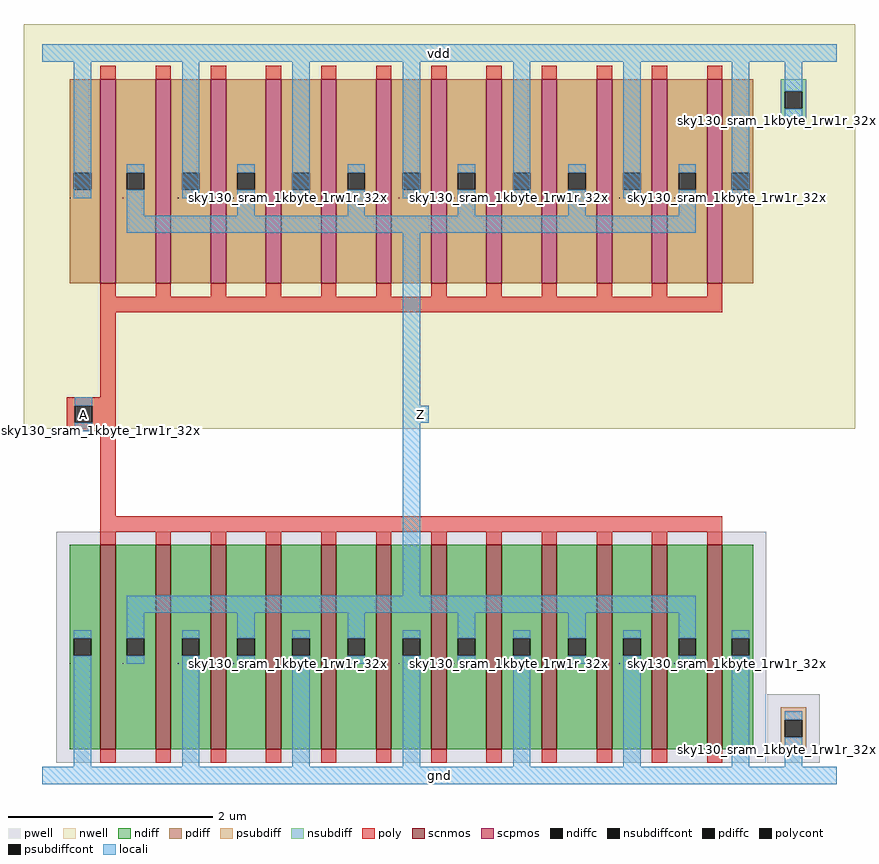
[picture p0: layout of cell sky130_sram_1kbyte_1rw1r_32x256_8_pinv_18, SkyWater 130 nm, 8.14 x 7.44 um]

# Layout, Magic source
magic
tech sky130A
magscale 1 2
<< nwell >>
rect -36 679 1592 1471
<< pwell >>
rect 1420 25 1522 159
<< psubdiff >>
rect 1446 109 1496 133
rect 1446 75 1454 109
rect 1488 75 1496 109
rect 1446 51 1496 75
<< nsubdiff >>
rect 1446 1339 1496 1363
rect 1446 1305 1454 1339
rect 1488 1305 1496 1339
rect 1446 1281 1496 1305
<< psubdiffcont >>
rect 1454 75 1488 109
<< nsubdiffcont >>
rect 1454 1305 1488 1339
<< poly >>
rect 114 740 144 907
rect 48 724 144 740
rect 48 690 64 724
rect 98 690 144 724
rect 48 674 144 690
rect 114 507 144 674
<< polycont >>
rect 64 690 98 724
<< locali >>
rect 0 1397 1556 1431
rect 62 1130 96 1397
rect 274 1130 308 1397
rect 490 1130 524 1397
rect 706 1130 740 1397
rect 922 1130 956 1397
rect 1138 1130 1172 1397
rect 1350 1130 1384 1397
rect 1454 1339 1488 1397
rect 1454 1289 1488 1305
rect 64 724 98 740
rect 64 674 98 690
rect 706 724 740 1096
rect 706 690 757 724
rect 706 318 740 690
rect 62 17 96 218
rect 274 17 308 218
rect 490 17 524 218
rect 706 17 740 218
rect 922 17 956 218
rect 1138 17 1172 218
rect 1350 17 1384 218
rect 1454 109 1488 125
rect 1454 17 1488 75
rect 0 -17 1556 17
use sky130_sram_1kbyte_1rw1r_32x256_8_contact_16  sky130_sram_1kbyte_1rw1r_32x256_8_contact_16_0
transform 1 0 48 0 1 674
box 0 0 1 1
use sky130_sram_1kbyte_1rw1r_32x256_8_contact_29  sky130_sram_1kbyte_1rw1r_32x256_8_contact_29_0
transform 1 0 1446 0 1 51
box 0 0 1 1
use sky130_sram_1kbyte_1rw1r_32x256_8_contact_28  sky130_sram_1kbyte_1rw1r_32x256_8_contact_28_0
transform 1 0 1446 0 1 1281
box 0 0 1 1
use sky130_sram_1kbyte_1rw1r_32x256_8_nmos_m12_w2_000_sli_dli_da_p  sky130_sram_1kbyte_1rw1r_32x256_8_nmos_m12_w2_000_sli_dli_da_p_0
transform 1 0 54 0 1 51
box -26 -26 1364 456
use sky130_sram_1kbyte_1rw1r_32x256_8_pmos_m12_w2_000_sli_dli_da_p  sky130_sram_1kbyte_1rw1r_32x256_8_pmos_m12_w2_000_sli_dli_da_p_0
transform 1 0 54 0 1 963
box -59 -56 1397 454
<< labels >>
rlabel locali s 81 707 81 707 4 A
port 1 nsew
rlabel locali s 740 707 740 707 4 Z
port 2 nsew
rlabel locali s 778 0 778 0 4 gnd
port 3 nsew
rlabel locali s 778 1414 778 1414 4 vdd
port 4 nsew
<< properties >>
string FIXED_BBOX 0 0 1556 1414
string GDS_FILE $PDKPATH/libs.ref/sky130_sram_macros/gds/sky130_sram_1kbyte_1rw1r_32x256_8.gds
string GDS_END 352868
string GDS_START 350230
<< end >>

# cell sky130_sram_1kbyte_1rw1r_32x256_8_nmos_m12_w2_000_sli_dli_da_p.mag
magic
tech sky130A
magscale 1 2
<< pwell >>
rect -26 -26 1364 426
<< scnmos >>
rect 60 0 90 400
rect 168 0 198 400
rect 276 0 306 400
rect 384 0 414 400
rect 492 0 522 400
rect 600 0 630 400
rect 708 0 738 400
rect 816 0 846 400
rect 924 0 954 400
rect 1032 0 1062 400
rect 1140 0 1170 400
rect 1248 0 1278 400
<< ndiff >>
rect 0 217 60 400
rect 0 183 8 217
rect 42 183 60 217
rect 0 0 60 183
rect 90 217 168 400
rect 90 183 112 217
rect 146 183 168 217
rect 90 0 168 183
rect 198 217 276 400
rect 198 183 220 217
rect 254 183 276 217
rect 198 0 276 183
rect 306 217 384 400
rect 306 183 328 217
rect 362 183 384 217
rect 306 0 384 183
rect 414 217 492 400
rect 414 183 436 217
rect 470 183 492 217
rect 414 0 492 183
rect 522 217 600 400
rect 522 183 544 217
rect 578 183 600 217
rect 522 0 600 183
rect 630 217 708 400
rect 630 183 652 217
rect 686 183 708 217
rect 630 0 708 183
rect 738 217 816 400
rect 738 183 760 217
rect 794 183 816 217
rect 738 0 816 183
rect 846 217 924 400
rect 846 183 868 217
rect 902 183 924 217
rect 846 0 924 183
rect 954 217 1032 400
rect 954 183 976 217
rect 1010 183 1032 217
rect 954 0 1032 183
rect 1062 217 1140 400
rect 1062 183 1084 217
rect 1118 183 1140 217
rect 1062 0 1140 183
rect 1170 217 1248 400
rect 1170 183 1192 217
rect 1226 183 1248 217
rect 1170 0 1248 183
rect 1278 217 1338 400
rect 1278 183 1296 217
rect 1330 183 1338 217
rect 1278 0 1338 183
<< ndiffc >>
rect 8 183 42 217
rect 112 183 146 217
rect 220 183 254 217
rect 328 183 362 217
rect 436 183 470 217
rect 544 183 578 217
rect 652 183 686 217
rect 760 183 794 217
rect 868 183 902 217
rect 976 183 1010 217
rect 1084 183 1118 217
rect 1192 183 1226 217
rect 1296 183 1330 217
<< poly >>
rect 60 426 1278 456
rect 60 400 90 426
rect 168 400 198 426
rect 276 400 306 426
rect 384 400 414 426
rect 492 400 522 426
rect 600 400 630 426
rect 708 400 738 426
rect 816 400 846 426
rect 924 400 954 426
rect 1032 400 1062 426
rect 1140 400 1170 426
rect 1248 400 1278 426
rect 60 -26 90 0
rect 168 -26 198 0
rect 276 -26 306 0
rect 384 -26 414 0
rect 492 -26 522 0
rect 600 -26 630 0
rect 708 -26 738 0
rect 816 -26 846 0
rect 924 -26 954 0
rect 1032 -26 1062 0
rect 1140 -26 1170 0
rect 1248 -26 1278 0
<< locali >>
rect 112 267 1226 301
rect 8 217 42 233
rect 8 167 42 183
rect 112 217 146 267
rect 112 167 146 183
rect 220 217 254 233
rect 220 167 254 183
rect 328 217 362 267
rect 328 167 362 183
rect 436 217 470 233
rect 436 167 470 183
rect 544 217 578 267
rect 544 167 578 183
rect 652 217 686 233
rect 652 167 686 183
rect 760 217 794 267
rect 760 167 794 183
rect 868 217 902 233
rect 868 167 902 183
rect 976 217 1010 267
rect 976 167 1010 183
rect 1084 217 1118 233
rect 1084 167 1118 183
rect 1192 217 1226 267
rect 1192 167 1226 183
rect 1296 217 1330 233
rect 1296 167 1330 183
use sky130_sram_1kbyte_1rw1r_32x256_8_contact_11  sky130_sram_1kbyte_1rw1r_32x256_8_contact_11_0
transform 1 0 1288 0 1 167
box 0 0 1 1
use sky130_sram_1kbyte_1rw1r_32x256_8_contact_11  sky130_sram_1kbyte_1rw1r_32x256_8_contact_11_1
transform 1 0 1184 0 1 167
box 0 0 1 1
use sky130_sram_1kbyte_1rw1r_32x256_8_contact_11  sky130_sram_1kbyte_1rw1r_32x256_8_contact_11_2
transform 1 0 1076 0 1 167
box 0 0 1 1
use sky130_sram_1kbyte_1rw1r_32x256_8_contact_11  sky130_sram_1kbyte_1rw1r_32x256_8_contact_11_3
transform 1 0 968 0 1 167
box 0 0 1 1
use sky130_sram_1kbyte_1rw1r_32x256_8_contact_11  sky130_sram_1kbyte_1rw1r_32x256_8_contact_11_4
transform 1 0 860 0 1 167
box 0 0 1 1
use sky130_sram_1kbyte_1rw1r_32x256_8_contact_11  sky130_sram_1kbyte_1rw1r_32x256_8_contact_11_5
transform 1 0 752 0 1 167
box 0 0 1 1
use sky130_sram_1kbyte_1rw1r_32x256_8_contact_11  sky130_sram_1kbyte_1rw1r_32x256_8_contact_11_6
transform 1 0 644 0 1 167
box 0 0 1 1
use sky130_sram_1kbyte_1rw1r_32x256_8_contact_11  sky130_sram_1kbyte_1rw1r_32x256_8_contact_11_7
transform 1 0 536 0 1 167
box 0 0 1 1
use sky130_sram_1kbyte_1rw1r_32x256_8_contact_11  sky130_sram_1kbyte_1rw1r_32x256_8_contact_11_8
transform 1 0 428 0 1 167
box 0 0 1 1
use sky130_sram_1kbyte_1rw1r_32x256_8_contact_11  sky130_sram_1kbyte_1rw1r_32x256_8_contact_11_9
transform 1 0 320 0 1 167
box 0 0 1 1
use sky130_sram_1kbyte_1rw1r_32x256_8_contact_11  sky130_sram_1kbyte_1rw1r_32x256_8_contact_11_10
transform 1 0 212 0 1 167
box 0 0 1 1
use sky130_sram_1kbyte_1rw1r_32x256_8_contact_11  sky130_sram_1kbyte_1rw1r_32x256_8_contact_11_11
transform 1 0 104 0 1 167
box 0 0 1 1
use sky130_sram_1kbyte_1rw1r_32x256_8_contact_11  sky130_sram_1kbyte_1rw1r_32x256_8_contact_11_12
transform 1 0 0 0 1 167
box 0 0 1 1
<< labels >>
rlabel locali s 1313 200 1313 200 4 S
port 1 nsew
rlabel locali s 453 200 453 200 4 S
port 1 nsew
rlabel locali s 1101 200 1101 200 4 S
port 1 nsew
rlabel locali s 669 200 669 200 4 S
port 1 nsew
rlabel locali s 25 200 25 200 4 S
port 1 nsew
rlabel locali s 885 200 885 200 4 S
port 1 nsew
rlabel locali s 237 200 237 200 4 S
port 1 nsew
rlabel locali s 669 284 669 284 4 D
port 2 nsew
rlabel poly s 669 441 669 441 4 G
port 3 nsew
<< properties >>
string FIXED_BBOX -25 -26 1363 456
string GDS_FILE $PDKPATH/libs.ref/sky130_sram_macros/gds/sky130_sram_1kbyte_1rw1r_32x256_8.gds
string GDS_END 90626
string GDS_START 87280
<< end >>

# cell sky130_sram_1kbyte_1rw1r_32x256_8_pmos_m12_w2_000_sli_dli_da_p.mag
magic
tech sky130A
magscale 1 2
<< nwell >>
rect -54 284 1392 454
rect -59 116 1397 284
rect -54 -54 1392 116
<< scpmos >>
rect 60 0 90 400
rect 168 0 198 400
rect 276 0 306 400
rect 384 0 414 400
rect 492 0 522 400
rect 600 0 630 400
rect 708 0 738 400
rect 816 0 846 400
rect 924 0 954 400
rect 1032 0 1062 400
rect 1140 0 1170 400
rect 1248 0 1278 400
<< pdiff >>
rect 0 217 60 400
rect 0 183 8 217
rect 42 183 60 217
rect 0 0 60 183
rect 90 217 168 400
rect 90 183 112 217
rect 146 183 168 217
rect 90 0 168 183
rect 198 217 276 400
rect 198 183 220 217
rect 254 183 276 217
rect 198 0 276 183
rect 306 217 384 400
rect 306 183 328 217
rect 362 183 384 217
rect 306 0 384 183
rect 414 217 492 400
rect 414 183 436 217
rect 470 183 492 217
rect 414 0 492 183
rect 522 217 600 400
rect 522 183 544 217
rect 578 183 600 217
rect 522 0 600 183
rect 630 217 708 400
rect 630 183 652 217
rect 686 183 708 217
rect 630 0 708 183
rect 738 217 816 400
rect 738 183 760 217
rect 794 183 816 217
rect 738 0 816 183
rect 846 217 924 400
rect 846 183 868 217
rect 902 183 924 217
rect 846 0 924 183
rect 954 217 1032 400
rect 954 183 976 217
rect 1010 183 1032 217
rect 954 0 1032 183
rect 1062 217 1140 400
rect 1062 183 1084 217
rect 1118 183 1140 217
rect 1062 0 1140 183
rect 1170 217 1248 400
rect 1170 183 1192 217
rect 1226 183 1248 217
rect 1170 0 1248 183
rect 1278 217 1338 400
rect 1278 183 1296 217
rect 1330 183 1338 217
rect 1278 0 1338 183
<< pdiffc >>
rect 8 183 42 217
rect 112 183 146 217
rect 220 183 254 217
rect 328 183 362 217
rect 436 183 470 217
rect 544 183 578 217
rect 652 183 686 217
rect 760 183 794 217
rect 868 183 902 217
rect 976 183 1010 217
rect 1084 183 1118 217
rect 1192 183 1226 217
rect 1296 183 1330 217
<< poly >>
rect 60 400 90 426
rect 168 400 198 426
rect 276 400 306 426
rect 384 400 414 426
rect 492 400 522 426
rect 600 400 630 426
rect 708 400 738 426
rect 816 400 846 426
rect 924 400 954 426
rect 1032 400 1062 426
rect 1140 400 1170 426
rect 1248 400 1278 426
rect 60 -26 90 0
rect 168 -26 198 0
rect 276 -26 306 0
rect 384 -26 414 0
rect 492 -26 522 0
rect 600 -26 630 0
rect 708 -26 738 0
rect 816 -26 846 0
rect 924 -26 954 0
rect 1032 -26 1062 0
rect 1140 -26 1170 0
rect 1248 -26 1278 0
rect 60 -56 1278 -26
<< locali >>
rect 8 217 42 233
rect 8 167 42 183
rect 112 217 146 233
rect 112 133 146 183
rect 220 217 254 233
rect 220 167 254 183
rect 328 217 362 233
rect 328 133 362 183
rect 436 217 470 233
rect 436 167 470 183
rect 544 217 578 233
rect 544 133 578 183
rect 652 217 686 233
rect 652 167 686 183
rect 760 217 794 233
rect 760 133 794 183
rect 868 217 902 233
rect 868 167 902 183
rect 976 217 1010 233
rect 976 133 1010 183
rect 1084 217 1118 233
rect 1084 167 1118 183
rect 1192 217 1226 233
rect 1192 133 1226 183
rect 1296 217 1330 233
rect 1296 167 1330 183
rect 112 99 1226 133
use sky130_sram_1kbyte_1rw1r_32x256_8_contact_12  sky130_sram_1kbyte_1rw1r_32x256_8_contact_12_0
transform 1 0 1288 0 1 167
box 0 0 1 1
use sky130_sram_1kbyte_1rw1r_32x256_8_contact_12  sky130_sram_1kbyte_1rw1r_32x256_8_contact_12_1
transform 1 0 1184 0 1 167
box 0 0 1 1
use sky130_sram_1kbyte_1rw1r_32x256_8_contact_12  sky130_sram_1kbyte_1rw1r_32x256_8_contact_12_2
transform 1 0 1076 0 1 167
box 0 0 1 1
use sky130_sram_1kbyte_1rw1r_32x256_8_contact_12  sky130_sram_1kbyte_1rw1r_32x256_8_contact_12_3
transform 1 0 968 0 1 167
box 0 0 1 1
use sky130_sram_1kbyte_1rw1r_32x256_8_contact_12  sky130_sram_1kbyte_1rw1r_32x256_8_contact_12_4
transform 1 0 860 0 1 167
box 0 0 1 1
use sky130_sram_1kbyte_1rw1r_32x256_8_contact_12  sky130_sram_1kbyte_1rw1r_32x256_8_contact_12_5
transform 1 0 752 0 1 167
box 0 0 1 1
use sky130_sram_1kbyte_1rw1r_32x256_8_contact_12  sky130_sram_1kbyte_1rw1r_32x256_8_contact_12_6
transform 1 0 644 0 1 167
box 0 0 1 1
use sky130_sram_1kbyte_1rw1r_32x256_8_contact_12  sky130_sram_1kbyte_1rw1r_32x256_8_contact_12_7
transform 1 0 536 0 1 167
box 0 0 1 1
use sky130_sram_1kbyte_1rw1r_32x256_8_contact_12  sky130_sram_1kbyte_1rw1r_32x256_8_contact_12_8
transform 1 0 428 0 1 167
box 0 0 1 1
use sky130_sram_1kbyte_1rw1r_32x256_8_contact_12  sky130_sram_1kbyte_1rw1r_32x256_8_contact_12_9
transform 1 0 320 0 1 167
box 0 0 1 1
use sky130_sram_1kbyte_1rw1r_32x256_8_contact_12  sky130_sram_1kbyte_1rw1r_32x256_8_contact_12_10
transform 1 0 212 0 1 167
box 0 0 1 1
use sky130_sram_1kbyte_1rw1r_32x256_8_contact_12  sky130_sram_1kbyte_1rw1r_32x256_8_contact_12_11
transform 1 0 104 0 1 167
box 0 0 1 1
use sky130_sram_1kbyte_1rw1r_32x256_8_contact_12  sky130_sram_1kbyte_1rw1r_32x256_8_contact_12_12
transform 1 0 0 0 1 167
box 0 0 1 1
<< labels >>
rlabel locali s 1313 200 1313 200 4 S
port 1 nsew
rlabel locali s 453 200 453 200 4 S
port 1 nsew
rlabel locali s 1101 200 1101 200 4 S
port 1 nsew
rlabel locali s 669 200 669 200 4 S
port 1 nsew
rlabel locali s 25 200 25 200 4 S
port 1 nsew
rlabel locali s 885 200 885 200 4 S
port 1 nsew
rlabel locali s 237 200 237 200 4 S
port 1 nsew
rlabel locali s 669 116 669 116 4 D
port 2 nsew
rlabel poly s 669 -41 669 -41 4 G
port 3 nsew
<< properties >>
string FIXED_BBOX -54 -56 1392 116
string GDS_FILE $PDKPATH/libs.ref/sky130_sram_macros/gds/sky130_sram_1kbyte_1rw1r_32x256_8.gds
string GDS_END 94130
string GDS_START 90720
<< end >>
